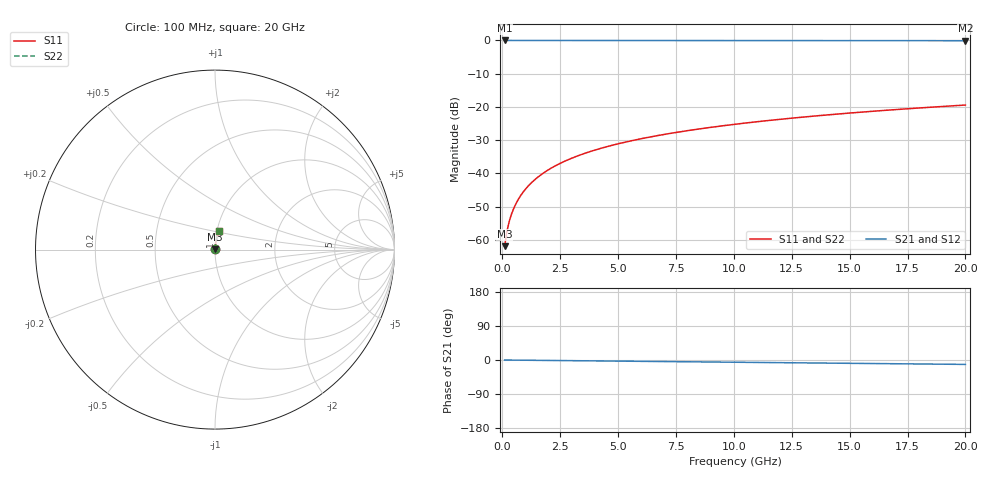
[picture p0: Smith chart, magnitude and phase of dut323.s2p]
! Touchstone file exported from HFSS 2026.1.0
!  File:  C:/ffzhzh/LocalFiles/Ansys_Project_Files/temp_train_TMRDL_323_1783003496_46388.aedt
!  Generated:  10:46:13 PM Jul  2, 2026
!  Design:  TMRDL
!  Project:  temp_train_TMRDL_323_1783003496_46388
! Variables:
!  h_bsmrdl = 2um
!  h_ox = 20um
!  h_rdl = 5um
!  h_sub = 80um
!  h_tmrdl = 5.19um
!  h_tsv = 80um
!  h_via = 3um
!  l_bsmrdl = 300um
!  l_sub = 537.69um
!  l_tmrdl = 137.69um
!  m_sub = 200um
!  pitch = 54.26um
!  r_tsv = 6um
!  s_tmrdl = 10um
!  w_bsmrdl = 18um
!  w_sub = 500um
!  w_tmrdl = 28.55um
!  x_tsv_center1 = 151.965um
!  x_tsv_center2 = 469.965um
!  x_tsv_center3 = 636.205um
!  x_tsv_center4 = 954.205um
!  x_tsv_center5 = 1120.445um
!  x_tsv_center6 = 1438.445um
# GHz S MA R 50.000000
! Terminal data exported
! Port[1] = TM_RDL1_1_T1
! Port[2] = TM_RDL1_1_T2
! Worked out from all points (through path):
!   200 points, 100 MHz to 20 GHz, reference 50 ohm
!   highest |S21| = 0.00 dB at 100 MHz (marker M1); lowest = -0.1 dB at 20 GHz (marker M2)
!   group delay of S21, straight-line fit = 1.61 ps
!   lowest |S11| = -61.9 dB at 100 MHz (marker M3), VSWR 1.00, Z = 50.1 + j0.0623 ohm
!   |S11| at or under -10 dB: start of sweep to end of sweep
!   |S22| runs from -61.9 to -19.5 dB; largest |S21 - S12| = 3.4e-15
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0.1  0.0007994 51.1  0.9995 -0.1  0.9995 -0.1  0.0007994 51.1
! Gamma 0 0 0 0
! Port Impedance 50 0 50 0
0.2  0.001337 66.1  0.9995 -0.1  0.9995 -0.1  0.001337 66.1
0.3  0.001891 72.0  0.9994 -0.2  0.9994 -0.2  0.001891 72.0
0.4  0.002442 75.3  0.9994 -0.2  0.9994 -0.2  0.002442 75.3
0.5  0.002992 77.4  0.9994 -0.3  0.9994 -0.3  0.002992 77.4
0.7  0.004096 80.2  0.9993 -0.4  0.9993 -0.4  0.004096 80.2
0.8  0.00465 81.1  0.9993 -0.5  0.9993 -0.5  0.00465 81.1
1  0.005762 82.3  0.9993 -0.6  0.9993 -0.6  0.005762 82.3
1.2  0.006877 83.1  0.9992 -0.7  0.9992 -0.7  0.006877 83.1
1.4  0.007994 83.7  0.9992 -0.8  0.9992 -0.8  0.007994 83.7
1.7  0.009668 84.2  0.9991 -1.0  0.9991 -1.0  0.009668 84.2
2  0.01134 84.5  0.9991 -1.2  0.9991 -1.2  0.01134 84.5
2.7  0.01522 84.7  0.9989 -1.6  0.9989 -1.6  0.01522 84.7
3.5  0.01963 84.7  0.9987 -2.1  0.9987 -2.1  0.01963 84.7
4.2  0.02345 84.4  0.9985 -2.5  0.9985 -2.5  0.02345 84.4
5  0.02779 84.2  0.9982 -3.0  0.9982 -3.0  0.02779 84.2
6.8  0.03745 83.4  0.9976 -4.0  0.9976 -4.0  0.03745 83.4
8.3  0.04544 82.7  0.9971 -4.9  0.9971 -4.9  0.04544 82.7
10.1  0.05497 81.9  0.9964 -5.9  0.9964 -5.9  0.05497 81.9
13.4  0.07234 80.3  0.995 -7.8  0.995 -7.8  0.07234 80.3
16.7  0.08952 78.5  0.9933 -9.7  0.9933 -9.7  0.08952 78.5
20  0.1065 76.8  0.9913 -11.6  0.9913 -11.6  0.1065 76.8
